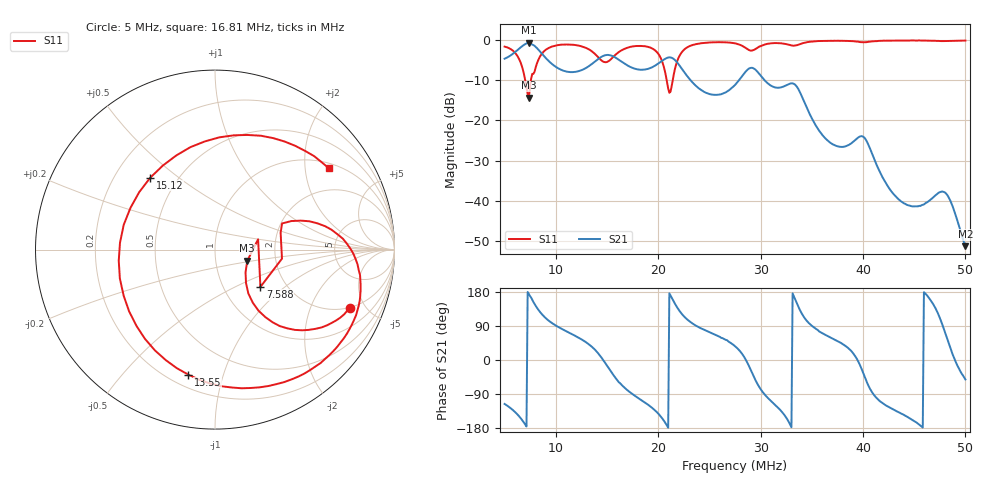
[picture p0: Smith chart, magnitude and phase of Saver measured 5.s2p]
! Measured S11/S21; S12/S22 are placeholders, NOT measurements. Calibration unverified.
! [Saver CAL applied] C:\Users\aknya\MyProjects\rf-simulator\calibration2.cal | Ideal standards assumed | Input: NanoVNA F V2 profile | COM3 | 2026-09-07T18:32:05.1787898-04:00 | device calibration unverified
# HZ S RI R 50
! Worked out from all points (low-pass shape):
!   401 points, 5 MHz to 50 MHz, reference 50 ohm
!   highest |S21| = -0.75 dB at 7.362 MHz (marker M1); lowest = -51.2 dB at 50 MHz (marker M2)
!   |S21| within 3 dB of the highest: 5.673 MHz to 8.733 MHz (3.06 MHz wide, 42.5 % of centre)
!   lowest |S11| = -14.4 dB at 7.362 MHz (marker M3), VSWR 1.47, Z = 71.2 - j9.19 ohm
!   |S11| at or under -10 dB: 7.006 MHz to 7.574 MHz (568 kHz wide, 7.79 % of centre); 20.82 MHz to 21.42 MHz (595.3 kHz wide, 2.82 % of centre)
!   S12 and S22 are empty: the file has one direction only
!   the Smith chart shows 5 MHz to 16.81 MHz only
!   S11 on the Smith chart (normalised r, x): 5 MHz: 1.97, -3.92; 7.588 MHz: 1.49, -0.69; 13.55 MHz: 0.27, -0.77; 15.12 MHz: 0.35, +0.40; 16.81 MHz: 1.16, +2.67
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5000000  0.7541 -0.324  -0.2547 -0.522  0 0  0 0
7362500  0.1797 -0.0622  -0.9131 0.0889  0 0  0 0
7587500  0.2531 -0.2079  -0.8541 0.2313  0 0  0 0
9837500  0.8112 -0.2005  -0.0307 0.4751  0 0  0 0
1.25375e7  0.3431 -0.7493  0.247 0.3399  0 0  0 0
1.355e7  -0.1489 -0.6965  0.4161 0.2826  0 0  0 0
1.445e7  -0.53 -0.1614  0.608 0.0714  0 0  0 0
1.5125e7  -0.361 0.4006  0.607 -0.2238  0 0  0 0
1.68125e7  0.6344 0.453  0.1241 -0.4793  0 0  0 0
1.86125e7  0.818 -0.1499  -0.1499 -0.3977  0 0  0 0
2.0075e7  0.3627 -0.5394  -0.4125 -0.3051  0 0  0 0
2.10875e7  -0.2172 -0.0333  -0.6017 0.0428  0 0  0 0
2.21e7  0.3333 0.5421  -0.2975 0.3701  0 0  0 0
2.39e7  0.8716 0.181  0.0116 0.2532  0 0  0 0
2.75e7  0.8349 -0.3366  0.2205 0.1632  0 0  0 0
2.975e7  0.7585 -0.2593  0.1601 -0.3587  0 0  0 0
3.29e7  0.7098 -0.4794  -0.2827 -0.0443  0 0  0 0
3.50375e7  0.7619 -0.5637  0.000779 0.104  0 0  0 0
4.01e7  0.5555 -0.7459  0.0473 -0.0396  0 0  0 0
4.2575e7  0.499 -0.8334  -0.0082 -0.0116  0 0  0 0
4.7975e7  0.2811 -0.9192  0.00322 0.0124  0 0  0 0
5e7  0.2163 -0.9506  0.00172 -0.00215  0 0  0 0
